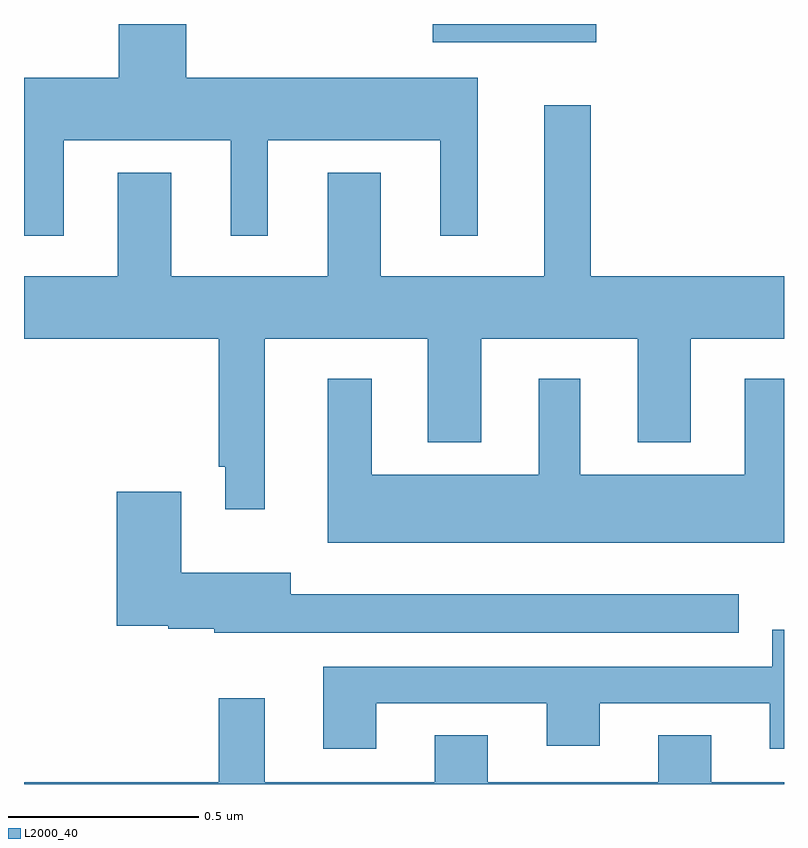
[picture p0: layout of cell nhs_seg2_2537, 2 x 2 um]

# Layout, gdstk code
import gdstk
lib = gdstk.Library(unit=1e-6, precision=1e-09)
def R(c, l, rs):  # rectangles x0, y0, x1, y1
    for r in rs: c.add(gdstk.rectangle(r[:2], r[2:], *l))
def P(c, l, *ps):  # polygons
    for p in ps: c.add(gdstk.Polygon(p, *l))
L2000_40 = (2000, 40)

nhs_seg2_2537 = lib.new_cell('nhs_seg2_2537')
R(nhs_seg2_2537, L2000_40, [(143.076,645.752,143.506,645.8)])
P(nhs_seg2_2537, L2000_40, [(142.105,645.494),(142.544,645.494),(142.544,645.243),(142.642,645.243),(142.642,645.494),(143.096,645.494),(143.096,645.243),(143.194,645.243),(143.194,645.658),(142.427,645.658),(142.427,645.8),(142.249,645.8),(142.249,645.658),(142,645.658),(142,645.243),(142.105,645.243)],
  [(143.369,645.586),(143.369,645.136),(142.939,645.136),(142.939,645.409),(142.799,645.409),(142.799,645.136),(142.387,645.136),(142.387,645.409),(142.247,645.409),(142.247,645.136),(142,645.136),(142,644.972),(142.512,644.972),(142.512,644.635),(142.529,644.635),(142.529,644.523),(142.633,644.523),(142.633,644.972),(143.063,644.972),(143.063,644.699),(143.203,644.699),(143.203,644.972),(143.615,644.972),(143.615,644.699),(143.755,644.699),(143.755,644.972),(144,644.972),(144,645.136),(143.491,645.136),(143.491,645.586)],
  [(144,644.866),(143.897,644.866),(143.897,644.614),(143.464,644.614),(143.464,644.866),(143.354,644.866),(143.354,644.614),(142.915,644.614),(142.915,644.866),(142.799,644.866),(142.799,644.435),(144,644.435)],
  [(143.881,644.299),(142.702,644.299),(142.702,644.356),(142.414,644.356),(142.414,644.569),(142.244,644.569),(142.244,644.216),(142.38,644.216),(142.38,644.209),(142.5,644.209),(142.5,644.198),(143.881,644.198)],
  [(142.927,644.013),(143.375,644.013),(143.375,643.901),(143.515,643.901),(143.515,644.013),(143.963,644.013),(143.963,643.893),(144,643.893),(144,644.206),(143.969,644.206),(143.969,644.109),(142.787,644.109),(142.787,643.893),(142.927,643.893)],
  [(144,643.804),(143.809,643.804),(143.809,643.928),(143.669,643.928),(143.669,643.804),(143.221,643.804),(143.221,643.928),(143.081,643.928),(143.081,643.804),(142.633,643.804),(142.633,644.026),(142.512,644.026),(142.512,643.804),(142,643.804),(142,643.8),(144,643.8)])

lib.write_gds('nhs_seg2_2537.gds')
